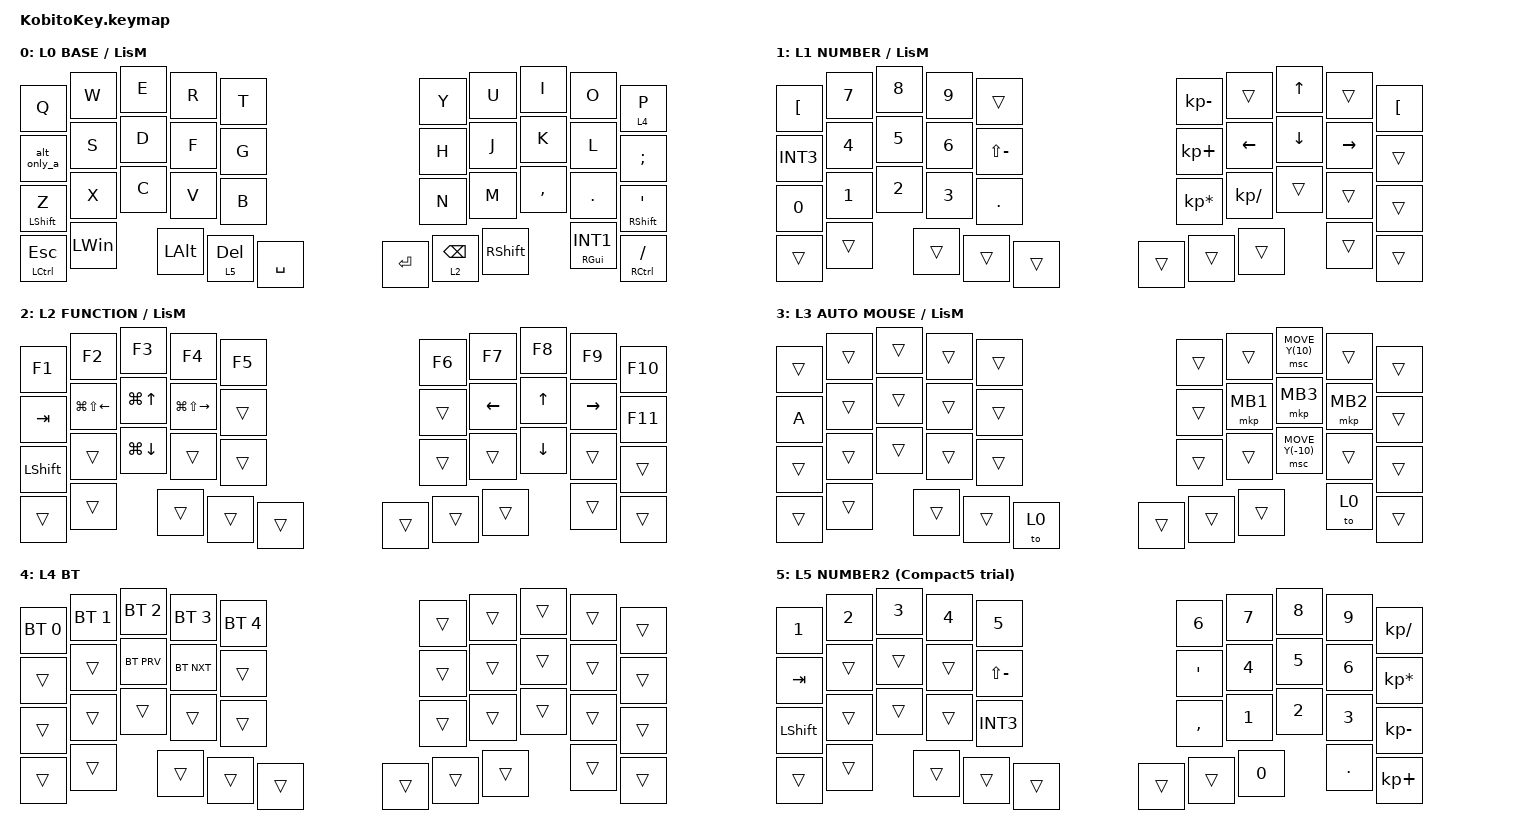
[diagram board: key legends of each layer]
#include <input/processors.dtsi>
#include <behaviors.dtsi>
#include <dt-bindings/zmk/bt.h>
#include <dt-bindings/zmk/keys.h>
#include <dt-bindings/zmk/pointing.h>
#include <dt-bindings/zmk/modifiers.h>
#include "layout_shift.dtsi"

// Keymap behavior timings follow LisM; the KobitoKey auto-mouse timer stays 5000 ms.
&mt { tapping-term-ms = <300>; flavor = "balanced"; };
&lt { quick-tap-ms = <300>; };

/ {
    behaviors {
        // LisM behavior: Left Alt+A = Alt+Tab, Left Alt+Shift+A = reverse.
        // Ctrl / Win / right Alt override it and preserve A.
        alt_a_tab: alt_a_tab {
            compatible = "zmk,behavior-mod-morph";
            #binding-cells = <0>;
            bindings = <&kp A>, <&kp TAB>;
            mods = <MOD_LALT>;
            keep-mods = <MOD_LALT>;
        };
        alt_only_a: alt_only_a {
            compatible = "zmk,behavior-mod-morph";
            #binding-cells = <0>;
            bindings = <&alt_a_tab>, <&kp A>;
            mods = <(MOD_LCTL | MOD_RCTL | MOD_LGUI | MOD_RGUI | MOD_RALT)>;
            keep-mods = <(MOD_LCTL | MOD_RCTL | MOD_LGUI | MOD_RGUI | MOD_RALT)>;
        };

        // Keep the original key_press behavior for ZMK core components

        original_key_press: original_key_press {
            compatible = "zmk,behavior-key-press";
            #binding-cells = <1>;
            label = "KEY_PRESS";
        };

        // Override the existing &kp behavior to use our custom implementation

        kp: key_press {
            compatible = "zmk,behavior-layout-shift-key-press";
            #binding-cells = <1>;
            label = "LAYOUT_SHIFT_KEY_PRESS";
        };
    };
};

/ {
    macros {
        paren_pair: paren_pair {
            compatible = "zmk,behavior-macro";
            #binding-cells = <0>;
            wait-ms = <20>;
            tap-ms = <20>;
            bindings = <&kp LS(NUMBER_8) &kp LS(NUMBER_9) &kp LEFT_ARROW>;
        };

        bracket_pair: bracket_pair {
            compatible = "zmk,behavior-macro";
            #binding-cells = <0>;
            wait-ms = <20>;
            tap-ms = <20>;
            bindings = <&kp RIGHT_BRACKET &kp NUHS &kp LEFT_ARROW>;
        };

        long_vowel: long_vowel {
            compatible = "zmk,behavior-macro";
            #binding-cells = <0>;
            bindings = <&kp MINUS>;
        };

        eisu_base: eisu_base {
            compatible = "zmk,behavior-macro";
            #binding-cells = <0>;
            bindings = <&kp LANG2>;
        };

        kana_base: kana_base {
            compatible = "zmk,behavior-macro";
            #binding-cells = <0>;
            bindings = <&kp LANG1>;
        };

        // LisM IME combos: exit the mouse layer after switching the input method.
        ime_eisu_base: ime_eisu_base {
            compatible = "zmk,behavior-macro";
            #binding-cells = <0>;
            wait-ms = <30>; tap-ms = <30>;
            bindings = <&kp LANG2 &to 0>;
        };
        ime_kana_base: ime_kana_base {
            compatible = "zmk,behavior-macro";
            #binding-cells = <0>;
            wait-ms = <30>; tap-ms = <30>;
            bindings = <&kp LANG1 &to 0>;
        };
    };
};

/ {
    combos {
        compatible = "zmk,combos";
        // Copy LisM combo positions. Physical positions 0..29 match KobitoKey.
        combo_eisu { timeout-ms = <50>; key-positions = <11 13>; bindings = <&kp LANG2>; layers = <0 1 5>; };
        combo_kana { timeout-ms = <50>; key-positions = <16 18>; bindings = <&kp LANG1>; layers = <0 1 5>; };
        combo_eisu_mouse { timeout-ms = <50>; key-positions = <11 13>; bindings = <&ime_eisu_base>; layers = <3>; };
        combo_kana_mouse { timeout-ms = <50>; key-positions = <16 18>; bindings = <&ime_kana_base>; layers = <3>; };
        combo_esc { timeout-ms = <50>; key-positions = <0 1>; bindings = <&kp ESC>; layers = <0>; };
        combo_tab { timeout-ms = <50>; key-positions = <10 11>; bindings = <&kp TAB>; layers = <0>; };
        combo_long_vowel { timeout-ms = <50>; key-positions = <8 9>; bindings = <&kp MINUS>; layers = <0 1 5>; };
        combo_at { timeout-ms = <50>; key-positions = <13 16>; bindings = <&kp LEFT_BRACKET>; layers = <0>; };
        combo_paren_pair { timeout-ms = <50>; key-positions = <18 19>; bindings = <&paren_pair>; layers = <0 1 5>; };
        combo_bracket_pair { timeout-ms = <50>; key-positions = <28 29>; bindings = <&bracket_pair>; layers = <0 1 5>; };
    };

    keymap {
        compatible = "zmk,keymap";

        default_layer {
            label = "L0 BASE / LisM";
            bindings = <
                &kp Q            &kp W                 &kp E               &kp R                &kp T                 &kp Y                &kp U           &kp I            &kp O                &lt 4 P
                &alt_only_a      &kp S                 &kp D               &kp F                &kp G                 &kp H                &kp J           &kp K            &kp L                &kp SEMI
                &mt LSHIFT Z     &kp X                 &kp C               &kp V                &kp B                 &kp N                &kp M           &kp COMMA        &kp DOT              &mt RSHIFT APOS
                &mt LCTRL ESCAPE &kp LWIN              &kp LALT            &lt 5 DEL            &kp SPACE             &kp ENTER            &lt 2 BACKSPACE &kp RIGHT_SHIFT  &mt RGUI INT1        &mt RCTRL SLASH
            >;
        };

        NUM {
            label = "L1 NUMBER / LisM";
            bindings = <
                &kp LEFT_BRACKET &kp NUMBER_7          &kp NUMBER_8        &kp NUMBER_9        &trans                &kp KP_MINUS         &trans          &kp UP_ARROW     &trans                &kp LEFT_BRACKET
                &kp INT3         &kp NUMBER_4          &kp NUMBER_5        &kp NUMBER_6        &kp LS(MINUS)         &kp KP_PLUS          &kp LEFT_ARROW  &kp DOWN_ARROW   &kp RIGHT_ARROW       &trans
                &kp NUMBER_0     &kp NUMBER_1          &kp NUMBER_2        &kp NUMBER_3        &kp PERIOD            &kp KP_MULTIPLY      &kp KP_SLASH    &trans          &trans                &trans
                &trans           &trans                &trans              &trans              &trans                &trans               &trans          &trans          &trans                &trans
            >;
        };

        FUNC {
            label = "L2 FUNCTION / LisM";
            bindings = <
                &kp F1           &kp F2                &kp F3              &kp F4               &kp F5             &kp F6              &kp F7         &kp F8          &kp F9                &kp F10
                &kp TAB          &kp LG(LS(LEFT_ARROW)) &kp LG(UP_ARROW)   &kp LG(LS(RIGHT_ARROW)) &trans          &trans              &kp LEFT_ARROW &kp UP_ARROW    &kp RIGHT_ARROW       &kp F11
                &kp LEFT_SHIFT   &trans                &kp LG(DOWN_ARROW)  &trans               &trans              &trans              &trans         &kp DOWN_ARROW  &trans                &trans
                &trans           &trans                &trans              &trans               &trans              &trans              &trans         &trans          &trans                &trans
            >;
        };

        MOUSE {
            label = "L3 AUTO MOUSE / LisM";
            // Keep KobitoKey's existing auto-layer activation/deactivation timing.
            bindings = <
                &trans           &trans                &trans              &trans               &trans              &trans              &trans         &msc MOVE_Y(10) &trans                &trans
                &kp A            &trans                &trans              &trans               &trans              &trans              &mkp MB1      &mkp MB3        &mkp MB2              &trans
                &trans           &trans                &trans              &trans               &trans              &trans              &trans         &msc MOVE_Y(-10) &trans               &trans
                &trans           &trans                &trans              &trans               &to 0               &trans              &trans         &trans          &to 0                 &trans
            >;
        };

        BT {
            label = "L4 BT";
            bindings = <
&bt BT_SEL 0  &bt BT_SEL 1  &bt BT_SEL 2  &bt BT_SEL 3  &bt BT_SEL 4                  &trans  &trans  &trans  &trans  &trans
&trans        &trans        &bt BT_PRV    &bt BT_NXT    &trans                        &trans  &trans  &trans  &trans  &trans
&trans        &trans        &trans        &trans        &trans                        &trans  &trans  &trans  &trans  &trans
&trans        &trans                      &trans        &trans        &trans  &trans  &trans  &trans          &trans  &trans
            >;
        };

        NUM2 {
            label = "L5 NUMBER2 (Compact5 trial)";
            bindings = <
&kp N1             &kp N2  &kp N3   &kp N4   &kp N5                           &kp N6     &kp N7  &kp N8  &kp N9  &kp KP_SLASH
&kp TAB            &trans  &trans   &trans   &kp LS(MINUS)                    &kp APOS   &kp N4  &kp N5  &kp N6  &kp KP_MULTIPLY
&kp LEFT_SHIFT     &trans  &trans   &trans   &kp INT3                         &kp COMMA  &kp N1  &kp N2  &kp N3  &kp KP_MINUS
&trans            &trans           &trans   &trans    &trans  &trans  &trans   &kp N0             &kp PERIOD &kp KP_PLUS
            >;
        };
    };
};
